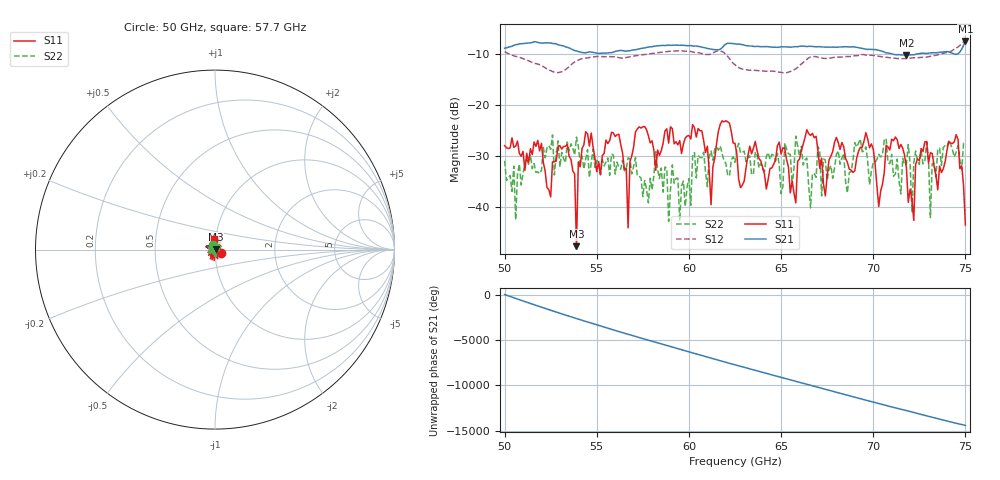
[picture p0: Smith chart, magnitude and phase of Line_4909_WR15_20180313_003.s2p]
# Hz S RI R 50
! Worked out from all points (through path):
!   251 points, 50 GHz to 75 GHz, reference 50 ohm
!   highest |S21| = -7.49 dB at 75 GHz (marker M1); lowest = -10.2 dB at 71.8 GHz (marker M2)
!   lowest |S11| = -47.6 dB at 53.9 GHz (marker M3), VSWR 1.01, Z = 50.4 + j0.0763 ohm
!   |S11| at or under -10 dB: start of sweep to end of sweep
!   |S22| runs from -42.8 to -25.9 dB; largest |S21 - S12| = 0.65
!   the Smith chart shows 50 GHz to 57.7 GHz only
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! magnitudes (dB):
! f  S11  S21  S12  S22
! 50 GHz  -28.0  -8.9  -9.6  -30.9
! 50.6 GHz  -28.1  -8.2  -10.5  -42.5
! 53.4 GHz  -27.8  -8.8  -12.8  -27.3
! 53.9 GHz  -47.6  -9.5  -11.4  -26.3
! 54.2 GHz  -28.6  -9.8  -11.0  -30.0
! 56.2 GHz  -25.7  -9.4  -10.8  -32.3
! 56.7 GHz  -44.1  -9.4  -10.7  -30.4
! 57.1 GHz  -25.3  -9.2  -10.4  -30.3
! 58.4 GHz  -29.9  -8.4  -9.8  -34.4
! 60.7 GHz  -25.1  -8.7  -10.0  -30.4
! 61.2 GHz  -39.5  -9.1  -10.0  -29.0
! 62.5 GHz  -27.5  -8.1  -12.1  -31.2
! 65.8 GHz  -39.2  -8.6  -12.9  -26.1
! 66.7 GHz  -25.6  -8.6  -10.5  -33.5
! 67.4 GHz  -37.8  -8.7  -10.9  -30.8
! 70.9 GHz  -28.8  -9.9  -10.8  -31.5
! 71.8 GHz  -32.3  -10.2  -10.9  -31.6
! 72.2 GHz  -42.6  -10.2  -10.8  -31.3
! 72.9 GHz  -27.2  -10.0  -10.6  -27.3
! 73.1 GHz  -29.4  -9.8  -10.5  -42.0
! 74.5 GHz  -25.8  -10.1  -8.9  -29.2
! 75 GHz  -43.5  -7.5  -7.4  -27.6
